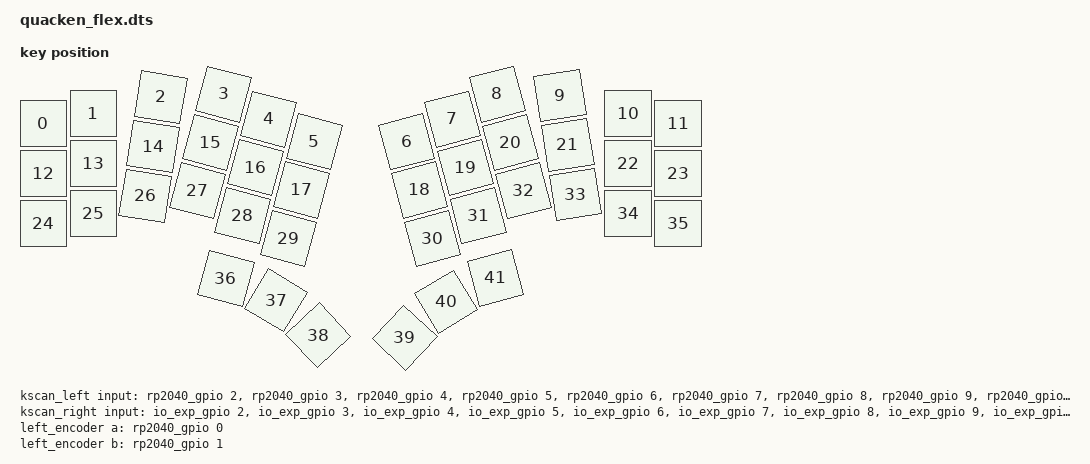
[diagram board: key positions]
/dts-v1/;

#include <raspberrypi/rpi_pico/rp2040.dtsi>
#include <dt-bindings/zmk/matrix_transform.h>
#include <zephyr/dt-bindings/pinctrl/rpi-pico-rp2040-pinctrl.h>
#include <physical_layouts.dtsi>

/ {
    chosen {
        zephyr,sram = &sram0;
        zephyr,flash = &flash0;
        zephyr,flash-controller = &ssi;
        zephyr,code-partition = &code_partition;
    };

    #define L(x) RC(0, x)
    #define R(x) RC(1, x)

    default_transform: keymap_transform0 {
        compatible = "zmk,matrix-transform";
        columns = <21>;
        rows = <2>;
        map = <
            L(20) L(17) L(14) L(11) L(8) L(5)    R(17) R(14) R(11) R(8) R(5) R(2)
            L(19) L(16) L(13) L(10) L(7) L(4)    R(16) R(13) R(10) R(7) R(4) R(1)
            L(18) L(15) L(12) L( 9) L(6) L(3)    R(15) R(12) R( 9) R(6) R(3) R(0)
                               L(0) L(1) L(2)    R(18) R(19) R(20)
        >;
    };

    #undef L
    #undef R

    kscan_composite: kscan_composite {
        compatible = "zmk,kscan-composite";
        rows = <2>;      // Each hand is on it’s own "row"
        columns = <21>;  // Each key is on it’s own "column"

        left {
            kscan = <&kscan_left>;
        };

        right {
            kscan = <&kscan_right>;
            row-offset = <1>;
        };
    };

    // Median positions have no effects on the gpio used for the key
    kscan_left: kscan_left {
        compatible = "zmk,kscan-gpio-direct";
        wakeup-source;
        input-gpios
            // Thumb (Tucked / Home / Reachy)
            = <&rp2040_gpio  2 (GPIO_ACTIVE_LOW | GPIO_PULL_UP)>
            , <&rp2040_gpio  3 (GPIO_ACTIVE_LOW | GPIO_PULL_UP)>
            , <&rp2040_gpio  4 (GPIO_ACTIVE_LOW | GPIO_PULL_UP)>

            // Inner (Bottom / Home / Top)
            , <&rp2040_gpio  5 (GPIO_ACTIVE_LOW | GPIO_PULL_UP)>
            , <&rp2040_gpio  6 (GPIO_ACTIVE_LOW | GPIO_PULL_UP)>
            , <&rp2040_gpio  7 (GPIO_ACTIVE_LOW | GPIO_PULL_UP)>

            // Index (Bottom / Home / Top)
            , <&rp2040_gpio  8 (GPIO_ACTIVE_LOW | GPIO_PULL_UP)>
            , <&rp2040_gpio  9 (GPIO_ACTIVE_LOW | GPIO_PULL_UP)>
            , <&rp2040_gpio 10 (GPIO_ACTIVE_LOW | GPIO_PULL_UP)>

            // Middle (Bottom / Home / Top)
            , <&rp2040_gpio 11 (GPIO_ACTIVE_LOW | GPIO_PULL_UP)>
            , <&rp2040_gpio 12 (GPIO_ACTIVE_LOW | GPIO_PULL_UP)>
            , <&rp2040_gpio 13 (GPIO_ACTIVE_LOW | GPIO_PULL_UP)>

            // Ring (Bottom / Home / Top)
            , <&rp2040_gpio 14 (GPIO_ACTIVE_LOW | GPIO_PULL_UP)>
            , <&rp2040_gpio 15 (GPIO_ACTIVE_LOW | GPIO_PULL_UP)>
            , <&rp2040_gpio 16 (GPIO_ACTIVE_LOW | GPIO_PULL_UP)>

            // Pincky (Bottom / Home / Top)
            , <&rp2040_gpio 17 (GPIO_ACTIVE_LOW | GPIO_PULL_UP)>
            , <&rp2040_gpio 18 (GPIO_ACTIVE_LOW | GPIO_PULL_UP)>
            , <&rp2040_gpio 19 (GPIO_ACTIVE_LOW | GPIO_PULL_UP)>

            // Outer (Bottom / Home / Top)
            , <&rp2040_gpio 20 (GPIO_ACTIVE_LOW | GPIO_PULL_UP)>
            , <&rp2040_gpio 21 (GPIO_ACTIVE_LOW | GPIO_PULL_UP)>
            , <&rp2040_gpio 22 (GPIO_ACTIVE_LOW | GPIO_PULL_UP)>
            ;
    };

    kscan_right: kscan_right {
        compatible = "zmk,kscan-gpio-direct";
        input-gpios
            // Outer (Bottom / Home / Top)
            = <&io_exp_gpio  2 (GPIO_ACTIVE_LOW | GPIO_PULL_UP)>
            , <&io_exp_gpio  3 (GPIO_ACTIVE_LOW | GPIO_PULL_UP)>
            , <&io_exp_gpio  4 (GPIO_ACTIVE_LOW | GPIO_PULL_UP)>

            // Pincky (Bottom / Home / Top)
            , <&io_exp_gpio  5 (GPIO_ACTIVE_LOW | GPIO_PULL_UP)>
            , <&io_exp_gpio  6 (GPIO_ACTIVE_LOW | GPIO_PULL_UP)>
            , <&io_exp_gpio  7 (GPIO_ACTIVE_LOW | GPIO_PULL_UP)>

            // Ring (Bottom / Home / Top)
            , <&io_exp_gpio  8 (GPIO_ACTIVE_LOW | GPIO_PULL_UP)>
            , <&io_exp_gpio  9 (GPIO_ACTIVE_LOW | GPIO_PULL_UP)>
            , <&io_exp_gpio 10 (GPIO_ACTIVE_LOW | GPIO_PULL_UP)>

            // Middle (Bottom / Home / Top)
            , <&io_exp_gpio 11 (GPIO_ACTIVE_LOW | GPIO_PULL_UP)>
            , <&io_exp_gpio 12 (GPIO_ACTIVE_LOW | GPIO_PULL_UP)>
            , <&io_exp_gpio 13 (GPIO_ACTIVE_LOW | GPIO_PULL_UP)>

            // Index (Bottom / Home / Top)
            , <&io_exp_gpio 14 (GPIO_ACTIVE_LOW | GPIO_PULL_UP)>
            , <&io_exp_gpio 15 (GPIO_ACTIVE_LOW | GPIO_PULL_UP)>
            , <&io_exp_gpio 16 (GPIO_ACTIVE_LOW | GPIO_PULL_UP)>

            // Inner (Bottom / Home / Top)
            , <&io_exp_gpio 17 (GPIO_ACTIVE_LOW | GPIO_PULL_UP)>
            , <&io_exp_gpio 18 (GPIO_ACTIVE_LOW | GPIO_PULL_UP)>
            , <&io_exp_gpio 19 (GPIO_ACTIVE_LOW | GPIO_PULL_UP)>

            // Thumb (Tucked / Home / Reachy)
            , <&io_exp_gpio 20 (GPIO_ACTIVE_LOW | GPIO_PULL_UP)>
            , <&io_exp_gpio 21 (GPIO_ACTIVE_LOW | GPIO_PULL_UP)>
            , <&io_exp_gpio 22 (GPIO_ACTIVE_LOW | GPIO_PULL_UP)>
            ;
    };

    left_encoder: left_encoder {
        compatible = "alps,ec11";
        a-gpios = <&rp2040_gpio 0 (GPIO_ACTIVE_HIGH | GPIO_PULL_UP)>;
        b-gpios = <&rp2040_gpio 1 (GPIO_ACTIVE_HIGH | GPIO_PULL_UP)>;
        steps = <80>;
        status = "okay";
    };

    sensors: sensors {
        compatible = "zmk,keymap-sensors";
        sensors = <&left_encoder>;
        triggers-per-rotation = <20>;
    };

    physical_layout0: physical_layout_0 { // First physical layout, use different naming for other layouts
        compatible = "zmk,physical-layout";
        display-name = "Default Layout";
        kscan = <&kscan_composite>; // Label of the kscan node, optional if all layouts use the same
        transform = <&default_transform>; // Label of the matrix transform for this layout
        keys  //                     w   h    x    y     rot    rx    ry
            = <&key_physical_attrs 100 100    0  115      0      0     0>
            , <&key_physical_attrs 100 100  100   95      0      0     0>
            , <&key_physical_attrs 100 100  200   35    900    100   325>
            , <&key_physical_attrs 100 100  300    0   1500    170   310>
            , <&key_physical_attrs 100 100  400   25   1500    170   310>
            , <&key_physical_attrs 100 100  500   45   1500    170   310>

            , <&key_physical_attrs 100 100  770   45 (-1500)  1200   310>
            , <&key_physical_attrs 100 100  870   25 (-1500)  1200   310>
            , <&key_physical_attrs 100 100  970    0 (-1500)  1200   310>
            , <&key_physical_attrs 100 100 1070   35  (-900)  1250   325>
            , <&key_physical_attrs 100 100 1170   95      0      0     0>
            , <&key_physical_attrs 100 100 1270  115      0      0     0>

            , <&key_physical_attrs 100 100    0  215      0      0     0>
            , <&key_physical_attrs 100 100  100  195      0      0     0>
            , <&key_physical_attrs 100 100  200  135    900    100   325>
            , <&key_physical_attrs 100 100  300  100   1500    170   310>
            , <&key_physical_attrs 100 100  400  125   1500    170   310>
            , <&key_physical_attrs 100 100  500  145   1500    170   310>

            , <&key_physical_attrs 100 100  770  145 (-1500)  1200   310>
            , <&key_physical_attrs 100 100  870  125 (-1500)  1200   310>
            , <&key_physical_attrs 100 100  970  100 (-1500)  1200   310>
            , <&key_physical_attrs 100 100 1070  135  (-900)  1250   325>
            , <&key_physical_attrs 100 100 1170  195      0      0     0>
            , <&key_physical_attrs 100 100 1270  215      0      0     0>

            , <&key_physical_attrs 100 100    0  315      0      0     0>
            , <&key_physical_attrs 100 100  100  295      0      0     0>
            , <&key_physical_attrs 100 100  200  235    900    100   325>
            , <&key_physical_attrs 100 100  300  200   1500    170   310>
            , <&key_physical_attrs 100 100  400  225   1500    170   310>
            , <&key_physical_attrs 100 100  500  245   1500    170   310>

            , <&key_physical_attrs 100 100  770  245 (-1500)  1200   310>
            , <&key_physical_attrs 100 100  870  225 (-1500)  1200   310>
            , <&key_physical_attrs 100 100  970  200 (-1500)  1200   310>
            , <&key_physical_attrs 100 100 1070  235  (-900)  1250   325>
            , <&key_physical_attrs 100 100 1170  295      0      0     0>
            , <&key_physical_attrs 100 100 1270  315      0      0     0>

            , <&key_physical_attrs 100 100  400  355   1500    170   310>
            , <&key_physical_attrs 100 100  500  355   3100    330   400>
            , <&key_physical_attrs 100 100  600  355   4700    415   440>

            , <&key_physical_attrs 100 100  670  400 (-4700)   910   460>
            , <&key_physical_attrs 100 100  770  400 (-3100)   965   420>
            , <&key_physical_attrs 100 100  870  400 (-1500)  1025   330>
            ;
    };
};

rp2040_gpio: &gpio0 {
    status = "okay";
};

&pinctrl {
    i2c0_custom: i2c0_custom {
        group1 {
            pinmux = <I2C0_SCL_P29>, <I2C0_SDA_P28>;
            input-enable;
            input-schmitt-enable;
        };
    };

    i2c1_custom: i2c1_custom {
        group1 {
            pinmux = <I2C1_SCL_P27>, <I2C1_SDA_P26>;
            input-enable;
            input-schmitt-enable;
        };
    };
};

&i2c0 {
    status = "okay";
    clock-frequency = <I2C_BITRATE_STANDARD>;
    pinctrl-0 = <&i2c0_custom>;
    pinctrl-names = "default";

    io_exp_gpio: pcal6524@23 {
        compatible = "nxp,pcal6524";
        status = "okay";
        ngpios = <24>;
        #gpio-cells = <2>;
        gpio-controller;
        reg = <0x23>;
    };
};

/* &i2c1 { */
/*     status = "okay"; */
/*     clock-frequency = <I2C_BITRATE_STANDARD>; */
/*     pinctrl-0 = <&i2c1_custom>; */
/**/
/*     cirque_left: cirque_left@55 { */
/*         compatible = "cirque,pinnacle"; */
/*         reg = <0x55>; */
/*     }; */
/* }; */

&timer {
    status = "okay";
};

&rtc {
    clocks = <&clocks RPI_PICO_CLKID_CLK_RTC>;
    status = "okay";
};

&vreg {
    regulator-always-on;
    regulator-allowed-modes = <REGULATOR_RPI_PICO_MODE_NORMAL>;
};

zephyr_udc0: &usbd {
    status = "okay";
};

&flash0 {
    // Flex 25.xx: W25Q128JV onboard flash, 128M-bit memory (16MB).
    // Flex 26.01: W25Q16JVUX onboard flash, 16M-bit memory (2MB).
    // 2MB is more than enough, so let's use that for all Flex versions.
    reg = <0x10000000 DT_SIZE_M(2)>;

    partitions {
        compatible = "fixed-partitions";
        #address-cells = <1>;
        #size-cells = <1>;

        // Reserved memory for the second-stage bootloader
        second_stage_bootloader: partition@0 {
            reg = <0x00000000 0x100>;
            read-only;
        };

        // Usable flash. Starts at 0x100, after the bootloader. The partition
        // size is 2MB minus the 0x100 bytes taken by the bootloader.
        code_partition: partition@100 {
            reg = <0x100 (DT_SIZE_M(2) - 0x100)>;
            read-only;
        };
    };
};

&xosc {
    // Ensure the 12MHz oscillator has enough time to stabilize properly.
    // Required by Flex 25.xx, should be useless with Flex 26.01.
    startup-delay-multiplier = <64>;
};
